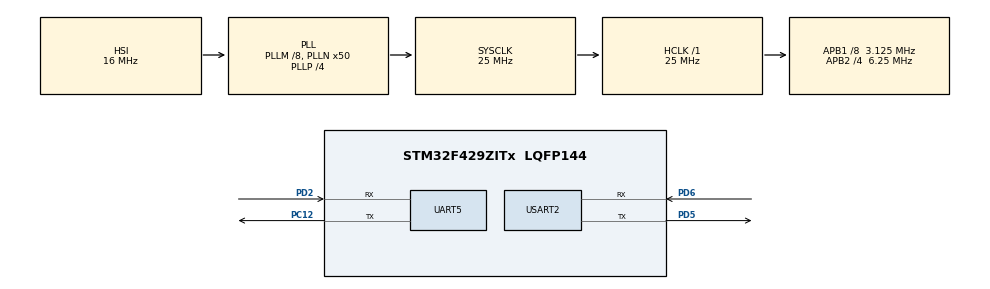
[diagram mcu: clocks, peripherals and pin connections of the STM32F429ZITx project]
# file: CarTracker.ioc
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Mcu.Family=STM32F4
Mcu.Name=STM32F429ZITx
Mcu.Package=LQFP144
NVIC.PriorityGroup=NVIC_PRIORITYGROUP_0
PC12.Mode=Asynchronous
PC12.Signal=UART5_TX
PD2.Mode=Asynchronous
PD2.Signal=UART5_RX
PD5.Mode=Asynchronous
PD5.Signal=USART2_TX
PD6.Mode=Asynchronous
PD6.Signal=USART2_RX
ProjectManager.HeapSize=0x200
ProjectManager.StackSize=0x400
ProjectManager.TargetToolchain=STM32CubeIDE
RCC.48MHZClocksFreq_Value=14285714.285714285
RCC.AHBFreq_Value=25000000
RCC.APB1CLKDivider=RCC_HCLK_DIV8
RCC.APB1Freq_Value=3125000
RCC.APB1TimFreq_Value=6250000
RCC.APB2CLKDivider=RCC_HCLK_DIV4
RCC.APB2Freq_Value=6250000
RCC.APB2TimFreq_Value=12500000
RCC.CortexFreq_Value=25000000
RCC.HCLKFreq_Value=25000000
RCC.HSE_VALUE=8000000
RCC.HSI_VALUE=16000000
RCC.LSE_VALUE=32768
RCC.PLLM=8
RCC.PLLN=50
RCC.PLLP=RCC_PLLP_DIV4
RCC.PLLQ=7
RCC.SYSCLKFreq_VALUE=25000000
RCC.SYSCLKSource=RCC_SYSCLKSOURCE_PLLCLK
RCC.VCOOutputFreq_Value=100000000
UART5.VirtualMode=Asynchronous
USART2.VirtualMode=VM_ASYNC
board=STM32F429I-DISC1

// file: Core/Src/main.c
/* USER CODE BEGIN Header */
/**
  ******************************************************************************
  * @file           : main.c
  * @brief          : Main program body
  ******************************************************************************
  * @attention
  *
  * Copyright (c) 2025 STMicroelectronics.
  * All rights reserved.
  *
  * This software is licensed under terms that can be found in the LICENSE file
  * in the root directory of this software component.
  * If no LICENSE file comes with this software, it is provided AS-IS.
  *
  ******************************************************************************
  */
/* USER CODE END Header */
#include "main.h"

/* USER CODE BEGIN Includes */
#include <string.h>
#include <stm32f4xx_hal_uart.h>
#include "sim7600.h"
#include "gnss.h"
#include "string.h"
#include "stdio.h"

/* USER CODE END Includes */

UART_HandleTypeDef huart5;
UART_HandleTypeDef huart2;

void SystemClock_Config(void);
static void MX_GPIO_Init(void);
static void MX_UART5_Init(void);
static void MX_USART2_UART_Init(void);

/* USER CODE BEGIN 0 */

static void Error_Handler_Blink(void)
{
    while (1)
    {
    	HAL_Delay(200);
    }
}

/* USER CODE END 0 */

int main(void)
{

  /* MCU Configuration--------------------------------------------------------*/

  /* Reset of all peripherals, Initializes the Flash interface and the Systick. */
  HAL_Init();

  /* Configure the system clock */
  SystemClock_Config();

  /* Initialize all configured peripherals */
  MX_GPIO_Init();
  MX_UART5_Init();
  MX_USART2_UART_Init(); 		//
  /* USER CODE BEGIN 2 */

  // Optional: small delay for modem power-up
  HAL_Delay(1000);

  // Bring up GNSS (start early so fix can be acquired sooner)
  SIM7600_EnableGNSS();

  // PDP + IP stack via modem
  if (SIM7600_TCP_NetOpen("TM") != 0) {
	  Error_Handler_Blink();
  }

  // Connect to your Oracle VM (replace with your public IP/DNS)
  const char *HOST = "130.162.219.128";
  const uint16_t PORT = 4000;
  const uint8_t LINK = 0;

  if (SIM7600_TCP_Open(LINK, HOST, PORT) != 0) {
	  SIM7600_TCP_NetClose();
	  Error_Handler_Blink();
  }

  /* USER CODE END 2 */

  /* Infinite loop */
  /* USER CODE BEGIN WHILE */

  // Send JSON line to VM very 10s
  while (1)
  {
    /* USER CODE END WHILE */

    /* USER CODE BEGIN 3 */

	GNSS_Location loc;
	int r = SIM7600_ReadLocation_GNSS(&loc);
	if (r == 0) {
		char json[192];
		int n = snprintf(json, sizeof(json),
		    "{\"latitude\":%.6f,\"longitude\":%.6f,\"timestamp\":\"%s\"}\n",
		    loc.latitude, loc.longitude, loc.iso8601);
		if (n > 0){
			int sr = SIM7600_TCP_Send(LINK, (const uint8_t*)json, n, 8000);
			if (sr != 0)
			{
				// reconnect if needed
				SIM7600_TCP_Close(LINK);
				HAL_Delay(2000);
				SIM7600_TCP_Open(LINK, HOST, PORT);
			}
		}
	}
	HAL_Delay(10000);
  }
  /* USER CODE END 3 */
}

void SystemClock_Config(void)
{
  RCC_OscInitTypeDef RCC_OscInitStruct = {0};
  RCC_ClkInitTypeDef RCC_ClkInitStruct = {0};

  /** Configure the main internal regulator output voltage
  */
  __HAL_RCC_PWR_CLK_ENABLE();
  __HAL_PWR_VOLTAGESCALING_CONFIG(PWR_REGULATOR_VOLTAGE_SCALE3);

  /** Initializes the RCC Oscillators according to the specified parameters
  * in the RCC_OscInitTypeDef structure.
  */
  RCC_OscInitStruct.OscillatorType = RCC_OSCILLATORTYPE_HSI;
  RCC_OscInitStruct.HSIState = RCC_HSI_ON;
  RCC_OscInitStruct.HSICalibrationValue = RCC_HSICALIBRATION_DEFAULT;
  RCC_OscInitStruct.PLL.PLLState = RCC_PLL_ON;
  RCC_OscInitStruct.PLL.PLLSource = RCC_PLLSOURCE_HSI;
  RCC_OscInitStruct.PLL.PLLM = 8;
  RCC_OscInitStruct.PLL.PLLN = 50;
  RCC_OscInitStruct.PLL.PLLP = RCC_PLLP_DIV4;
  RCC_OscInitStruct.PLL.PLLQ = 7;
  if (HAL_RCC_OscConfig(&RCC_OscInitStruct) != HAL_OK)
  {
    Error_Handler();
  }

  /** Initializes the CPU, AHB and APB buses clocks
  */
  RCC_ClkInitStruct.ClockType = RCC_CLOCKTYPE_HCLK|RCC_CLOCKTYPE_SYSCLK
                              |RCC_CLOCKTYPE_PCLK1|RCC_CLOCKTYPE_PCLK2;
  RCC_ClkInitStruct.SYSCLKSource = RCC_SYSCLKSOURCE_PLLCLK;
  RCC_ClkInitStruct.AHBCLKDivider = RCC_SYSCLK_DIV1;
  RCC_ClkInitStruct.APB1CLKDivider = RCC_HCLK_DIV8;
  RCC_ClkInitStruct.APB2CLKDivider = RCC_HCLK_DIV4;

  if (HAL_RCC_ClockConfig(&RCC_ClkInitStruct, FLASH_LATENCY_0) != HAL_OK)
  {
    Error_Handler();
  }
}

static void MX_UART5_Init(void)
{

  huart5.Instance = UART5;
  huart5.Init.BaudRate = 115200;
  huart5.Init.WordLength = UART_WORDLENGTH_8B;
  huart5.Init.StopBits = UART_STOPBITS_1;
  huart5.Init.Parity = UART_PARITY_NONE;
  huart5.Init.Mode = UART_MODE_TX_RX;
  huart5.Init.HwFlowCtl = UART_HWCONTROL_NONE;
  huart5.Init.OverSampling = UART_OVERSAMPLING_16;
  if (HAL_UART_Init(&huart5) != HAL_OK)
  {
    Error_Handler();
  }

}

static void MX_USART2_UART_Init(void)
{

  huart2.Instance = USART2;
  huart2.Init.BaudRate = 115200;
  huart2.Init.WordLength = UART_WORDLENGTH_8B;
  huart2.Init.StopBits = UART_STOPBITS_1;
  huart2.Init.Parity = UART_PARITY_NONE;
  huart2.Init.Mode = UART_MODE_TX_RX;
  huart2.Init.HwFlowCtl = UART_HWCONTROL_NONE;
  huart2.Init.OverSampling = UART_OVERSAMPLING_16;
  if (HAL_UART_Init(&huart2) != HAL_OK)
  {
    Error_Handler();
  }

}

static void MX_GPIO_Init(void)
{

  /* GPIO Ports Clock Enable */
  __HAL_RCC_GPIOC_CLK_ENABLE();
  __HAL_RCC_GPIOD_CLK_ENABLE();

}

void Error_Handler(void)
{
  __disable_irq();
  while (1)
  {
  }
}
